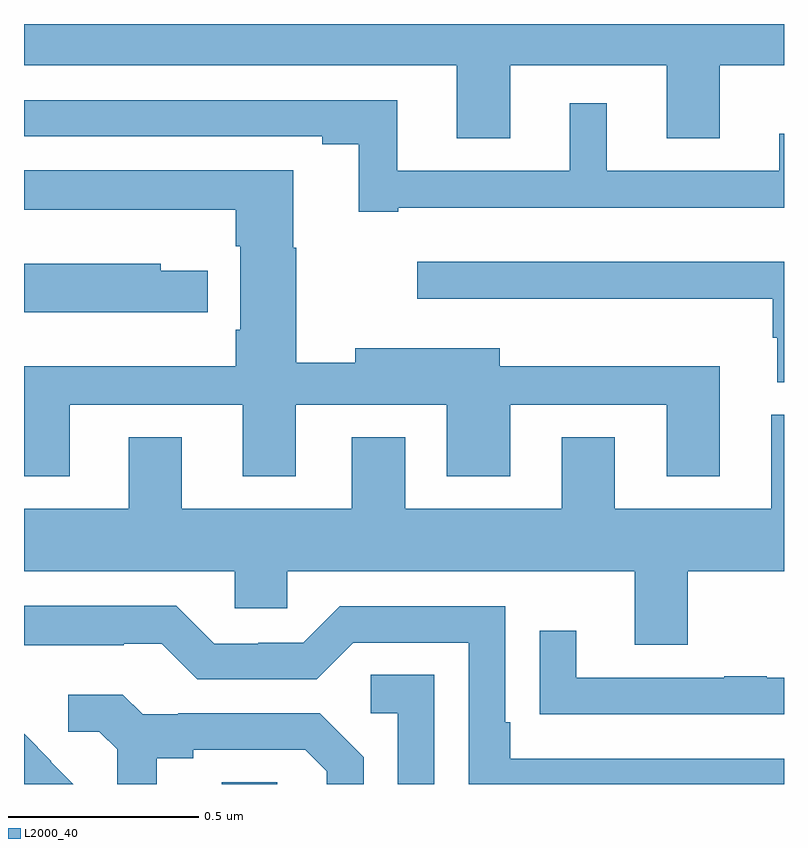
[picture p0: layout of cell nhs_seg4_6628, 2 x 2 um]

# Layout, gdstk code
import gdstk
lib = gdstk.Library(unit=1e-6, precision=1e-09)
def R(c, l, rs):  # rectangles x0, y0, x1, y1
    for r in rs: c.add(gdstk.rectangle(r[:2], r[2:], *l))
def P(c, l, *ps):  # polygons
    for p in ps: c.add(gdstk.Polygon(p, *l))
L2000_40 = (2000, 40)

nhs_seg4_6628 = lib.new_cell('nhs_seg4_6628')
R(nhs_seg4_6628, L2000_40, [(192.521,822.9,192.666,822.905)])
P(nhs_seg4_6628, L2000_40, [(193.279,824.792),(193.691,824.792),(193.691,824.599),(193.831,824.599),(193.831,824.792),(194,824.792),(194,824.9),(192,824.9),(192,824.792),(193.139,824.792),(193.139,824.599),(193.279,824.599)],
  [(192.985,824.417),(194,824.417),(194,824.611),(193.988,824.611),(193.988,824.514),(193.534,824.514),(193.534,824.692),(193.436,824.692),(193.436,824.514),(192.982,824.514),(192.982,824.7),(192,824.7),(192,824.604),(192.785,824.604),(192.785,824.584),(192.881,824.584),(192.881,824.406),(192.985,824.406)],
  [(192.121,823.898),(192.575,823.898),(192.575,823.71),(192.715,823.71),(192.715,823.898),(193.112,823.898),(193.112,823.71),(193.279,823.71),(193.279,823.898),(193.691,823.898),(193.691,823.71),(193.831,823.71),(193.831,823.999),(193.252,823.999),(193.252,824.047),(192.872,824.047),(192.872,824.009),(192.717,824.009),(192.717,824.311),(192.709,824.311),(192.709,824.515),(192,824.515),(192,824.411),(192.557,824.411),(192.557,824.315),(192.569,824.315),(192.569,824.095),(192.557,824.095),(192.557,823.999),(192,823.999),(192,823.71),(192.121,823.71)],
  [(194,824.275),(193.035,824.275),(193.035,824.177),(193.97,824.177),(193.97,824.075),(193.982,824.075),(193.982,823.957),(194,823.957)],
  [(192.484,824.251),(192.36,824.251),(192.36,824.269),(192,824.269),(192,824.141),(192.484,824.141)],
  [(193.747,823.46),(194,823.46),(194,823.872),(193.967,823.872),(193.967,823.624),(193.555,823.624),(193.555,823.813),(193.415,823.813),(193.415,823.624),(193.003,823.624),(193.003,823.813),(192.863,823.813),(192.863,823.624),(192.415,823.624),(192.415,823.813),(192.275,823.813),(192.275,823.624),(192,823.624),(192,823.46),(192.555,823.46),(192.555,823.362),(192.693,823.362),(192.693,823.46),(193.607,823.46),(193.607,823.266),(193.747,823.266)],
  [(194,822.966),(193.279,822.966),(193.279,823.063),(193.266,823.063),(193.266,823.368),(192.831,823.368),(192.735,823.272),(192.617,823.272),(192.617,823.269),(192.501,823.269),(192.401,823.369),(192,823.369),(192,823.265),(192.263,823.265),(192.263,823.269),(192.363,823.269),(192.456,823.176),(192.771,823.176),(192.867,823.272),(193.17,823.272),(193.17,822.9),(194,822.9)],
  [(194,823.179),(193.955,823.179),(193.955,823.184),(193.843,823.184),(193.843,823.179),(193.453,823.179),(193.453,823.303),(193.357,823.303),(193.357,823.084),(193.459,823.084),(193.459,823.083),(194,823.083)],
  [(193.08,823.187),(192.912,823.187),(192.912,823.086),(192.984,823.086),(192.984,822.9),(193.08,822.9)],
  [(192.349,822.968),(192.445,822.968),(192.445,822.99),(192.74,822.99),(192.797,822.933),(192.797,822.9),(192.894,822.9),(192.894,822.97),(192.778,823.086),(192.406,823.086),(192.406,823.083),(192.312,823.083),(192.26,823.135),(192.117,823.135),(192.117,823.038),(192.198,823.038),(192.245,822.991),(192.245,822.9),(192.349,822.9)],
  [(192.071,822.959),(192.072,822.96),(192,823.032),(192,822.9),(192.13,822.9)])

lib.write_gds('nhs_seg4_6628.gds')
